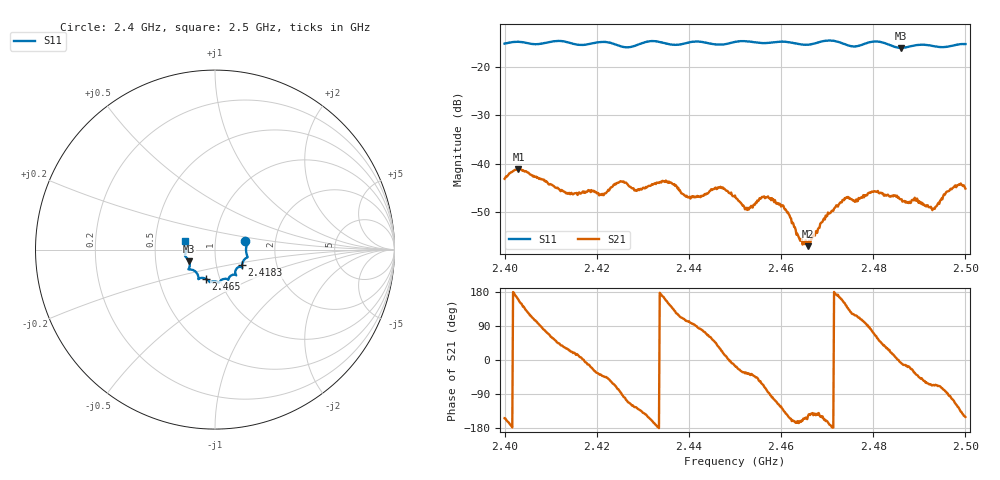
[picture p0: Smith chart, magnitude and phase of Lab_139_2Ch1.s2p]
# Hz S RI R 50
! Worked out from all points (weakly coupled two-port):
!   601 points, 2.4 GHz to 2.5 GHz, reference 50 ohm
!   highest |S21| = -41.09 dB at 2.403 GHz (marker M1); lowest = -57.1 dB at 2.4658 GHz (marker M2)
!   lowest |S11| = -16.0 dB at 2.486 GHz (marker M3), VSWR 1.38, Z = 37.1 - j4.99 ohm
!   |S11| at or under -10 dB: start of sweep to end of sweep
!   S12 and S22 are empty: the file has one direction only
!   S11 on the Smith chart (normalised r, x): 2.4 GHz: 1.40, +0.13; 2.4183 GHz: 1.33, -0.24; 2.465 GHz: 0.86, -0.29; 2.5 GHz: 0.71, +0.07
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2.4e9  0.1691 0.0458  -0.00626 -0.00311  0 0  0 0
2.403e9  0.1799 0.0326  -0.00824 0.00316  0 0  0 0
2.413333e9  0.1767 -0.0452  0.00426 0.00251  0 0  0 0
2.416667e9  0.1551 -0.0684  0.00497 0.000517  0 0  0 0
2.418333e9  0.15 -0.087  0.0051 -0.00115  0 0  0 0
2.433333e9  0.1168 -0.1414  -0.00635 -0.000289  0 0  0 0
2.436333e9  0.0962 -0.1412  -0.00464 0.00419  0 0  0 0
2.439833e9  0.0762 -0.1623  -0.00091 0.00438  0 0  0 0
2.446833e9  0.0454 -0.1646  0.00505 0.00281  0 0  0 0
2.45e9  0.0252 -0.1806  0.00452 -0.00125  0 0  0 0
2.4525e9  0.02 -0.1842  0.00284 -0.00204  0 0  0 0
2.456333e9  -0.00363 -0.1774  0.00152 -0.00434  0 0  0 0
2.46e9  -0.0279 -0.1816  -0.00196 -0.00303  0 0  0 0
2.465e9  -0.0527 -0.162  -0.0014 -0.000664  0 0  0 0
2.465833e9  -0.0622 -0.1588  -0.00119 -0.00074  0 0  0 0
2.466667e9  -0.0712 -0.1576  -0.0013 -0.00105  0 0  0 0
2.474e9  -0.0957 -0.1421  -0.0036 0.00251  0 0  0 0
2.483333e9  -0.1418 -0.0959  0.00421 0.00205  0 0  0 0
2.486e9  -0.1438 -0.0655  0.00425 -0.00056  0 0  0 0
2.493167e9  -0.1636 -0.0176  0.0014 -0.00315  0 0  0 0
2.497333e9  -0.1649 0.0306  -0.00151 -0.00546  0 0  0 0
2.5e9  -0.1667 0.0472  -0.00481 -0.00274  0 0  0 0
